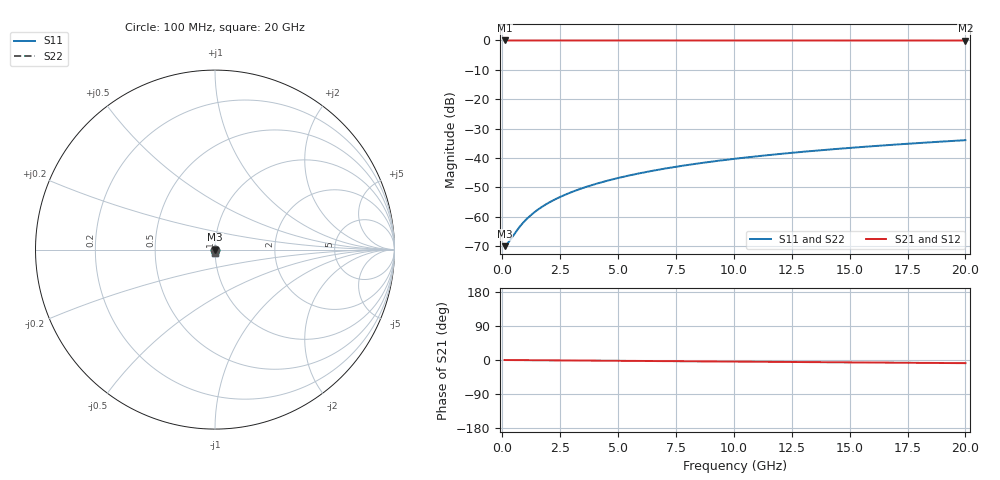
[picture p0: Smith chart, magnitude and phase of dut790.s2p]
! Touchstone file exported from HFSS 2026.1.0
!  File:  C:/ffzhzh/LocalFiles/Ansys_Project_Files/temp_train_TSV_790_1783183852_43440.aedt
!  Generated:  12:52:27 AM Jul  5, 2026
!  Design:  TSV
!  Project:  temp_train_TSV_790_1783183852_43440
! Variables:
!  h_bsmrdl = 2um
!  h_ox = 20um
!  h_rdl = 5um
!  h_sub = 89.63um
!  h_tmrdl = 5um
!  h_tsv = 89.63um
!  h_via = 3um
!  l_bsmrdl = 300um
!  l_sub = 412.34um
!  l_tmrdl = 200um
!  m_sub = 200um
!  pitch = 21.99um
!  r_tsv = 6.17um
!  s_tmrdl = 10um
!  w_bsmrdl = 18um
!  w_sub = 500um
!  w_tmrdl = 12um
!  x_tsv_center1 = 206um
!  x_tsv_center2 = 524um
!  x_tsv_center3 = 736um
!  x_tsv_center4 = 1054um
!  x_tsv_center5 = 1266um
!  x_tsv_center6 = 1584um
# GHz S MA R 50.000000
! Terminal data exported
! Port[1] = TSV1_1_T1
! Port[2] = TSV1_1_T2
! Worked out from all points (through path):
!   200 points, 100 MHz to 20 GHz, reference 50 ohm
!   highest |S21| = 0.00 dB at 100 MHz (marker M1); lowest = 0.0 dB at 20 GHz (marker M2)
!   group delay of S21, straight-line fit = 1.16 ps
!   lowest |S11| = -70.0 dB at 100 MHz (marker M3), VSWR 1.00, Z = 50 - j0.00358 ohm
!   |S11| at or under -10 dB: start of sweep to end of sweep
!   |S22| runs from -70.0 to -33.9 dB; largest |S21 - S12| = 6.2e-15
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0.1  0.0003166 -6.5  0.9997 -0.0  0.9997 -0.0  0.0003166 -6.5
! Gamma 0 0 0 0
! Port Impedance 50 0 50 0
0.2  0.0003426 -13.0  0.9997 -0.1  0.9997 -0.1  0.0003426 -13.0
0.3  0.0003834 -19.3  0.9996 -0.1  0.9996 -0.1  0.0003834 -19.3
0.6  0.0005654 -35.9  0.9995 -0.3  0.9995 -0.3  0.0005654 -35.9
0.7  0.0006382 -40.3  0.9995 -0.3  0.9995 -0.3  0.0006382 -40.3
0.9  0.000793 -47.5  0.9995 -0.4  0.9995 -0.4  0.000793 -47.5
1.2  0.001039 -55.3  0.9994 -0.5  0.9994 -0.5  0.001039 -55.3
1.5  0.001293 -60.6  0.9993 -0.6  0.9993 -0.6  0.001293 -60.6
1.9  0.001641 -65.4  0.9993 -0.8  0.9993 -0.8  0.001641 -65.4
2.4  0.002088 -69.3  0.9992 -1.0  0.9992 -1.0  0.002088 -69.3
2.9  0.002546 -72.0  0.9992 -1.2  0.9992 -1.2  0.002546 -72.0
3.5  0.00311 -74.2  0.9991 -1.5  0.9991 -1.5  0.00311 -74.2
4.2  0.003783 -76.2  0.999 -1.8  0.999 -1.8  0.003783 -76.2
5  0.00457 -78.0  0.9989 -2.1  0.9989 -2.1  0.00457 -78.0
5.9  0.005471 -79.6  0.9988 -2.5  0.9988 -2.5  0.005471 -79.6
6.8  0.006384 -80.9  0.9987 -2.9  0.9987 -2.9  0.006384 -80.9
8.3  0.007919 -82.9  0.9985 -3.5  0.9985 -3.5  0.007919 -82.9
10.1  0.009775 -84.8  0.9983 -4.2  0.9983 -4.2  0.009775 -84.8
11.7  0.01143 -86.3  0.9982 -4.9  0.9982 -4.9  0.01143 -86.3
13.4  0.0132 -87.6  0.9981 -5.6  0.9981 -5.6  0.0132 -87.6
16.7  0.01664 -89.9  0.9978 -7.0  0.9978 -7.0  0.01664 -89.9
20  0.02012 -91.9  0.9975 -8.3  0.9975 -8.3  0.02012 -91.9
